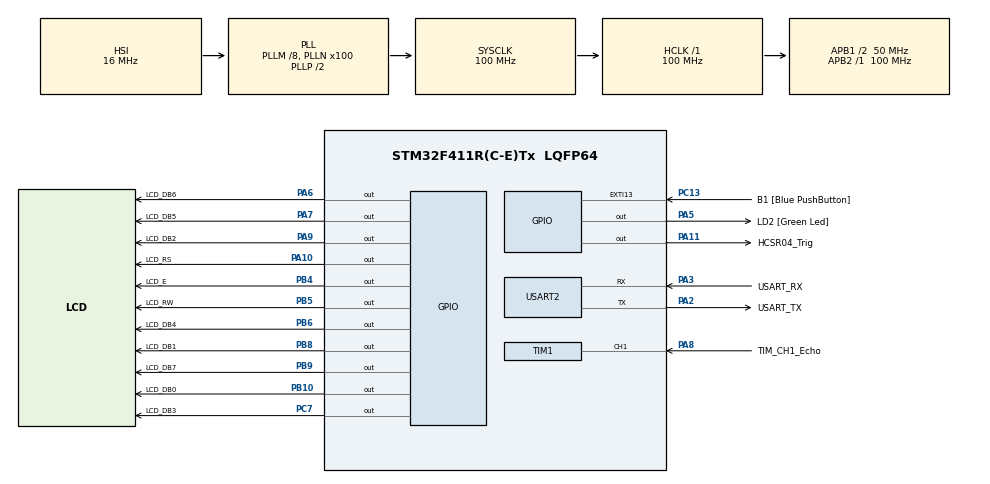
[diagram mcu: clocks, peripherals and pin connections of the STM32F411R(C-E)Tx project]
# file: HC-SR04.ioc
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Dma.Request0=USART2_TX
Dma.USART2_TX.0.Direction=DMA_MEMORY_TO_PERIPH
Dma.USART2_TX.0.FIFOMode=DMA_FIFOMODE_DISABLE
Dma.USART2_TX.0.Instance=DMA1_Stream6
Dma.USART2_TX.0.MemDataAlignment=DMA_MDATAALIGN_BYTE
Dma.USART2_TX.0.MemInc=DMA_MINC_ENABLE
Dma.USART2_TX.0.Mode=DMA_NORMAL
Dma.USART2_TX.0.PeriphDataAlignment=DMA_PDATAALIGN_BYTE
Dma.USART2_TX.0.PeriphInc=DMA_PINC_DISABLE
Dma.USART2_TX.0.Priority=DMA_PRIORITY_LOW
FREERTOS.BinarySemaphores01=CalcDistSem,Dynamic,NULL;LcdTransferSem,Dynamic,NULL
FREERTOS.Mutexes01=PrintfMutex,Dynamic,NULL;LcdMutex,Dynamic,NULL
FREERTOS.Queues01=LcdDistQueue,16,float,0,Dynamic,NULL,NULL
FREERTOS.Tasks01=HeartBeatTask,24,128,StartHeartBeatTask,Default,NULL,Dynamic,NULL,NULL;CalcDistTask,24,256,StartCalcDistTask,Default,NULL,Dynamic,NULL,NULL;LcdDistTask,24,256,StartLcdDistTask,Default,NULL,Dynamic,NULL,NULL;LcdDataTask,24,128,StartLcdDataTask,Default,NULL,Dynamic,NULL,NULL
FREERTOS.Timers01=LcdTransferTimer,LcdTransferCallback,osTimerOnce,Default,NULL,Dynamic,NULL
Mcu.Family=STM32F4
Mcu.Name=STM32F411R(C-E)Tx
Mcu.Package=LQFP64
NVIC.DMA1_Stream6_IRQn=true\:5\:0\:false\:false\:true\:true\:false\:true\:true
NVIC.EXTI15_10_IRQn=true\:5\:0\:false\:true\:true\:2\:true\:true\:true\:true
NVIC.PriorityGroup=NVIC_PRIORITYGROUP_4
NVIC.TIM1_CC_IRQn=true\:5\:0\:false\:true\:true\:1\:true\:true\:true\:true
NVIC.TIM1_TRG_COM_TIM11_IRQn=true\:15\:0\:false\:false\:true\:false\:false\:true\:true
NVIC.TIM1_UP_TIM10_IRQn=true\:5\:0\:false\:true\:true\:3\:true\:true\:true\:true
NVIC.TimeBase=TIM1_TRG_COM_TIM11_IRQn
NVIC.TimeBaseIP=TIM11
NVIC.USART2_IRQn=true\:5\:0\:false\:true\:true\:4\:true\:true\:true\:true
PA10.GPIO_Label=LCD_RS
PA10.Signal=GPIO_Output
PA11.GPIO_Label=HCSR04_Trig
PA11.Signal=GPIO_Output
PA13.GPIO_Label=TMS
PA13.Mode=Serial_Wire
PA13.Signal=SYS_JTMS-SWDIO
PA14.GPIO_Label=TCK
PA14.Mode=Serial_Wire
PA14.Signal=SYS_JTCK-SWCLK
PA2.GPIO_Label=USART_TX
PA2.Mode=Asynchronous
PA2.Signal=USART2_TX
PA3.GPIO_Label=USART_RX
PA3.Mode=Asynchronous
PA3.Signal=USART2_RX
PA5.GPIO_Label=LD2 [Green Led]
PA5.Signal=GPIO_Output
PA6.GPIO_Label=LCD_DB6
PA6.Signal=GPIO_Output
PA7.GPIO_Label=LCD_DB5
PA7.Signal=GPIO_Output
PA8.GPIO_Label=TIM_CH1_Echo
PA8.GPIO_PuPd=GPIO_PULLDOWN
PA8.Signal=S_TIM1_CH1
PA9.GPIO_Label=LCD_DB2
PA9.Signal=GPIO_Output
PB10.GPIO_Label=LCD_DB0
PB10.Signal=GPIO_Output
PB3.GPIO_Label=SWO
PB3.Signal=SYS_JTDO-SWO
PB4.GPIO_Label=LCD_E
PB4.Signal=GPIO_Output
PB5.GPIO_Label=LCD_RW
PB5.Signal=GPIO_Output
PB6.GPIO_Label=LCD_DB4
PB6.Signal=GPIO_Output
PB8.GPIO_Label=LCD_DB1
PB8.Signal=GPIO_Output
PB9.GPIO_Label=LCD_DB7
PB9.Signal=GPIO_Output
PC13-ANTI_TAMP.GPIO_Label=B1 [Blue PushButton]
PC13-ANTI_TAMP.GPIO_ModeDefaultEXTI=GPIO_MODE_IT_FALLING
PC13-ANTI_TAMP.Signal=GPXTI13
PC14-OSC32_IN.Mode=LSE-External-Oscillator
PC14-OSC32_IN.Signal=RCC_OSC32_IN
PC15-OSC32_OUT.Mode=LSE-External-Oscillator
PC15-OSC32_OUT.Signal=RCC_OSC32_OUT
PC7.GPIO_Label=LCD_DB3
PC7.Signal=GPIO_Output
PH0\ -\ OSC_IN.Mode=HSE-External-Clock-Source
PH0\ -\ OSC_IN.Signal=RCC_OSC_IN
PH1\ -\ OSC_OUT.Mode=HSE-External-Clock-Source
PH1\ -\ OSC_OUT.Signal=RCC_OSC_OUT
ProjectManager.HeapSize=0x200
ProjectManager.StackSize=0x400
ProjectManager.TargetToolchain=STM32CubeIDE
RCC.48MHZClocksFreq_Value=50000000
RCC.AHBFreq_Value=100000000
RCC.APB1CLKDivider=RCC_HCLK_DIV2
RCC.APB1Freq_Value=50000000
RCC.APB1TimFreq_Value=100000000
RCC.APB2Freq_Value=100000000
RCC.APB2TimFreq_Value=100000000
RCC.CortexFreq_Value=100000000
RCC.FLatency-AdvancedSettings=FLASH_LATENCY_3
RCC.HCLKFreq_Value=100000000
RCC.HSE_VALUE=8000000
RCC.HSI_VALUE=16000000
RCC.PLLM=8
RCC.PLLN=100
RCC.SYSCLKFreq_VALUE=100000000
RCC.SYSCLKSource=RCC_SYSCLKSOURCE_PLLCLK
RCC.VCOOutputFreq_Value=200000000
SH.S_TIM1_CH1.0=TIM1_CH1,Input_Capture1_from_TI1
TIM1.Channel-Input_Capture1_from_TI1=TIM_CHANNEL_1
TIM1.Channel-Input_Capture2_from_TI1_63=TIM_CHANNEL_2
TIM1.ICPolarity_CH1=TIM_INPUTCHANNELPOLARITY_RISING
TIM1.ICPolarity_CH2=TIM_INPUTCHANNELPOLARITY_FALLING
TIM1.Prescaler=99
TIM10.Period=9
TIM10.Prescaler=99
USART2.VirtualMode=VM_ASYNC
VP_FREERTOS_VS_CMSIS_V2.Mode=CMSIS_V2
VP_SYS_VS_tim11.Mode=TIM11
VP_TIM10_VS_ClockSourceINT.Mode=Enable_Timer
VP_TIM1_VS_ClockSourceINT.Mode=Internal
VP_TIM1_VS_indirect_ch1.Mode=Input_Capture2_from_TI1_63
board=NUCLEO-F411RE

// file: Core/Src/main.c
/* USER CODE BEGIN Header */
/**
  ******************************************************************************
  * @file           : main.c
  * @brief          : Main program body
  ******************************************************************************
  * @attention
  *
  * Copyright (c) 2023 STMicroelectronics.
  * All rights reserved.
  *
  * This software is licensed under terms that can be found in the LICENSE file
  * in the root directory of this software component.
  * If no LICENSE file comes with this software, it is provided AS-IS.
  *
  ******************************************************************************
  */
/* USER CODE END Header */
#include "main.h"
#include "cmsis_os.h"
#include "dma.h"
#include "tim.h"
#include "usart.h"
#include "gpio.h"

void SystemClock_Config(void);
void MX_FREERTOS_Init(void);
static void MX_NVIC_Init(void);
/* USER CODE BEGIN PFP */
//void SendUART(char* message, uint8_t size);
/* USER CODE END PFP */

int main(void)
{

  /* MCU Configuration--------------------------------------------------------*/

  /* Reset of all peripherals, Initializes the Flash interface and the Systick. */
  HAL_Init();

  /* Configure the system clock */
  SystemClock_Config();

  /* Initialize all configured peripherals */
  MX_GPIO_Init();
  MX_DMA_Init();
  MX_USART2_UART_Init();
  MX_TIM1_Init();
  MX_TIM10_Init();

  /* Initialize interrupts */
  MX_NVIC_Init();

  /* Init scheduler */
  osKernelInitialize();  /* Call init function for freertos objects (in freertos.c) */
  MX_FREERTOS_Init();

  /* Start scheduler */
  osKernelStart();

  /* We should never get here as control is now taken by the scheduler */
  /* Infinite loop */
  while (1)
  {

  }
}

void SystemClock_Config(void)
{
  RCC_OscInitTypeDef RCC_OscInitStruct = {0};
  RCC_ClkInitTypeDef RCC_ClkInitStruct = {0};

  /** Configure the main internal regulator output voltage
  */
  __HAL_RCC_PWR_CLK_ENABLE();
  __HAL_PWR_VOLTAGESCALING_CONFIG(PWR_REGULATOR_VOLTAGE_SCALE1);

  /** Initializes the RCC Oscillators according to the specified parameters
  * in the RCC_OscInitTypeDef structure.
  */
  RCC_OscInitStruct.OscillatorType = RCC_OSCILLATORTYPE_HSI;
  RCC_OscInitStruct.HSIState = RCC_HSI_ON;
  RCC_OscInitStruct.HSICalibrationValue = RCC_HSICALIBRATION_DEFAULT;
  RCC_OscInitStruct.PLL.PLLState = RCC_PLL_ON;
  RCC_OscInitStruct.PLL.PLLSource = RCC_PLLSOURCE_HSI;
  RCC_OscInitStruct.PLL.PLLM = 8;
  RCC_OscInitStruct.PLL.PLLN = 100;
  RCC_OscInitStruct.PLL.PLLP = RCC_PLLP_DIV2;
  RCC_OscInitStruct.PLL.PLLQ = 4;
  if (HAL_RCC_OscConfig(&RCC_OscInitStruct) != HAL_OK)
  {
    Error_Handler();
  }

  /** Initializes the CPU, AHB and APB buses clocks
  */
  RCC_ClkInitStruct.ClockType = RCC_CLOCKTYPE_HCLK|RCC_CLOCKTYPE_SYSCLK
                              |RCC_CLOCKTYPE_PCLK1|RCC_CLOCKTYPE_PCLK2;
  RCC_ClkInitStruct.SYSCLKSource = RCC_SYSCLKSOURCE_PLLCLK;
  RCC_ClkInitStruct.AHBCLKDivider = RCC_SYSCLK_DIV1;
  RCC_ClkInitStruct.APB1CLKDivider = RCC_HCLK_DIV2;
  RCC_ClkInitStruct.APB2CLKDivider = RCC_HCLK_DIV1;

  if (HAL_RCC_ClockConfig(&RCC_ClkInitStruct, FLASH_LATENCY_3) != HAL_OK)
  {
    Error_Handler();
  }
}

/**
  * @brief NVIC Configuration.
  * @retval None
  */
static void MX_NVIC_Init(void)
{
  /* TIM1_CC_IRQn interrupt configuration */
  HAL_NVIC_SetPriority(TIM1_CC_IRQn, 5, 0);
  HAL_NVIC_EnableIRQ(TIM1_CC_IRQn);
  /* EXTI15_10_IRQn interrupt configuration */
  HAL_NVIC_SetPriority(EXTI15_10_IRQn, 5, 0);
  HAL_NVIC_EnableIRQ(EXTI15_10_IRQn);
  /* TIM1_UP_TIM10_IRQn interrupt configuration */
  HAL_NVIC_SetPriority(TIM1_UP_TIM10_IRQn, 5, 0);
  HAL_NVIC_EnableIRQ(TIM1_UP_TIM10_IRQn);
  /* USART2_IRQn interrupt configuration */
  HAL_NVIC_SetPriority(USART2_IRQn, 5, 0);
  HAL_NVIC_EnableIRQ(USART2_IRQn);
}

void Error_Handler(void)
{
  __disable_irq();
  while (1)
  {
  }
}

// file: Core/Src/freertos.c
/* USER CODE BEGIN Header */
/**
  ******************************************************************************
  * File Name          : freertos.c
  * Description        : Code for freertos applications
  ******************************************************************************
  * @attention
  *
  * Copyright (c) 2023 STMicroelectronics.
  * All rights reserved.
  *
  * This software is licensed under terms that can be found in the LICENSE file
  * in the root directory of this software component.
  * If no LICENSE file comes with this software, it is provided AS-IS.
  *
  ******************************************************************************
  */
/* USER CODE END Header */

#include "FreeRTOS.h"
#include "task.h"
#include "main.h"
#include "cmsis_os.h"

/* USER CODE BEGIN Includes */
#include "printf.h"
#include "hcsr04.h"
#include "stdio.h"
#include "LCD_H44780U.h"
#include "dma.h"
#include "tim.h"
#include "usart.h"
#include "gpio.h"
#include "semphr.h"
#include "timers.h"
#include "queue.h"
/* USER CODE END Includes */

/* USER CODE BEGIN Variables */
HCSR04_t hc;

// LCD Init
LCD_H44780_t lcd;
// 8 bit
GPIO_TypeDef* Data_Ports[8] = {LCD_DB7_GPIO_Port, LCD_DB6_GPIO_Port, LCD_DB5_GPIO_Port,
								LCD_DB4_GPIO_Port, LCD_DB3_GPIO_Port, LCD_DB2_GPIO_Port,
								LCD_DB1_GPIO_Port, LCD_DB0_GPIO_Port};
uint16_t Data_Pins[8] = {LCD_DB7_Pin, LCD_DB6_Pin, LCD_DB5_Pin, LCD_DB4_Pin,
						LCD_DB3_Pin, LCD_DB2_Pin, LCD_DB1_Pin, LCD_DB0_Pin};

// 4 bit
//GPIO_TypeDef* Data_Ports[4] = {LCD_DB7_GPIO_Port, LCD_DB6_GPIO_Port, LCD_DB5_GPIO_Port,
//								LCD_DB4_GPIO_Port};
//uint16_t Data_Pins[4] = {LCD_DB7_Pin, LCD_DB6_Pin, LCD_DB5_Pin, LCD_DB4_Pin};

volatile uint16_t EdgeUpTime;
volatile uint16_t EdgeDownTime;
volatile uint8_t ReadyToCalcDist = 0;
volatile uint8_t StartMeasureDist = 0;

uint8_t dummydata[8] = {123,233,122,89,190,188,244,250};
/* USER CODE END Variables */
/* Definitions for HeartBeatTask */
osThreadId_t HeartBeatTaskHandle;
const osThreadAttr_t HeartBeatTask_attributes = {
  .name = "HeartBeatTask",
  .stack_size = 128 * 4,
  .priority = (osPriority_t) osPriorityNormal,
};
/* Definitions for CalcDistTask */
osThreadId_t CalcDistTaskHandle;
const osThreadAttr_t CalcDistTask_attributes = {
  .name = "CalcDistTask",
  .stack_size = 256 * 4,
  .priority = (osPriority_t) osPriorityNormal,
};
/* Definitions for LcdDistTask */
osThreadId_t LcdDistTaskHandle;
const osThreadAttr_t LcdDistTask_attributes = {
  .name = "LcdDistTask",
  .stack_size = 256 * 4,
  .priority = (osPriority_t) osPriorityNormal,
};
/* Definitions for LcdDataTask */
osThreadId_t LcdDataTaskHandle;
const osThreadAttr_t LcdDataTask_attributes = {
  .name = "LcdDataTask",
  .stack_size = 128 * 4,
  .priority = (osPriority_t) osPriorityNormal,
};
/* Definitions for LcdDistQueue */
osMessageQueueId_t LcdDistQueueHandle;
const osMessageQueueAttr_t LcdDistQueue_attributes = {
  .name = "LcdDistQueue"
};
/* Definitions for LcdTransferTimer */
osTimerId_t LcdTransferTimerHandle;
const osTimerAttr_t LcdTransferTimer_attributes = {
  .name = "LcdTransferTimer"
};
/* Definitions for PrintfMutex */
osMutexId_t PrintfMutexHandle;
const osMutexAttr_t PrintfMutex_attributes = {
  .name = "PrintfMutex"
};
/* Definitions for LcdMutex */
osMutexId_t LcdMutexHandle;
const osMutexAttr_t LcdMutex_attributes = {
  .name = "LcdMutex"
};
/* Definitions for CalcDistSem */
osSemaphoreId_t CalcDistSemHandle;
const osSemaphoreAttr_t CalcDistSem_attributes = {
  .name = "CalcDistSem"
};
/* Definitions for LcdTransferSem */
osSemaphoreId_t LcdTransferSemHandle;
const osSemaphoreAttr_t LcdTransferSem_attributes = {
  .name = "LcdTransferSem"
};

void StartHeartBeatTask(void *argument);
void StartCalcDistTask(void *argument);
void StartLcdDistTask(void *argument);
void StartLcdDataTask(void *argument);
void LcdTransferCallback(void *argument);

void MX_FREERTOS_Init(void); /* (MISRA C 2004 rule 8.1) */

void MX_FREERTOS_Init(void) {
  /* USER CODE BEGIN Init */
	// HCSR04 Init
	HCSR04_Init(&hc, &htim10, &htim1, B1_Pin, HCSR04_Trig_Pin, HCSR04_Trig_GPIO_Port);
    // Turn on TIM 1 in input capture mode Channel 1
    HAL_TIM_IC_Start_IT(&htim1, TIM_CHANNEL_1);
    // Turn on TIM1 in input capture mode Channel 2
    HAL_TIM_IC_Start_IT(&htim1, TIM_CHANNEL_2);
  /* USER CODE END Init */
  /* Create the mutex(es) */
  /* creation of PrintfMutex */
  PrintfMutexHandle = osMutexNew(&PrintfMutex_attributes);

  /* creation of LcdMutex */
  LcdMutexHandle = osMutexNew(&LcdMutex_attributes);

  /* Create the semaphores(s) */
  /* creation of CalcDistSem */
  CalcDistSemHandle = osSemaphoreNew(1, 1, &CalcDistSem_attributes);

  /* creation of LcdTransferSem */
  LcdTransferSemHandle = osSemaphoreNew(1, 1, &LcdTransferSem_attributes);

  /* Create the timer(s) */
  /* creation of LcdTransferTimer */
  LcdTransferTimerHandle = osTimerNew(LcdTransferCallback, osTimerOnce, NULL, &LcdTransferTimer_attributes);

  /* Create the queue(s) */
  /* creation of LcdDistQueue */
  LcdDistQueueHandle = osMessageQueueNew (16, sizeof(float), &LcdDistQueue_attributes);

  /* Create the thread(s) */
  /* creation of HeartBeatTask */
  HeartBeatTaskHandle = osThreadNew(StartHeartBeatTask, NULL, &HeartBeatTask_attributes);

  /* creation of CalcDistTask */
  CalcDistTaskHandle = osThreadNew(StartCalcDistTask, NULL, &CalcDistTask_attributes);

  /* creation of LcdDistTask */
  LcdDistTaskHandle = osThreadNew(StartLcdDistTask, NULL, &LcdDistTask_attributes);

  /* creation of LcdDataTask */
  LcdDataTaskHandle = osThreadNew(StartLcdDataTask, NULL, &LcdDataTask_attributes);

}

void StartHeartBeatTask(void *argument)
{
  /* USER CODE BEGIN StartHeartBeatTask */
  /* Infinite loop */
  for(;;)
  {
	HAL_GPIO_TogglePin(LD2_GPIO_Port, LD2_Pin);
	printf("LED\n\r");
    osDelay(500);
  }
  /* USER CODE END StartHeartBeatTask */
}

void StartCalcDistTask(void *argument)
{
  /* USER CODE BEGIN StartCalcDistTask */
  /* Infinite loop */
  for(;;)
  {
	if(xSemaphoreTake(CalcDistSemHandle, portMAX_DELAY) == pdTRUE)
	{
		if(HCSR04_Measurement(&hc) == 0)
		{
			printf("Wynik: %.1f\n\r", hc.distance);
			xQueueSendToBack(LcdDistQueueHandle, &hc.distance, portMAX_DELAY);
		}
	}
  }
  /* USER CODE END StartCalcDistTask */
}

void StartLcdDistTask(void *argument)
{
  /* USER CODE BEGIN StartLcdDistTask */
	 xSemaphoreTake(LcdMutexHandle, portMAX_DELAY);
	 LCD_create(&lcd ,Data_Ports, Data_Pins, LCD_RS_GPIO_Port, LCD_RS_Pin,
			 	 LCD_RW_GPIO_Port, LCD_RW_Pin, LCD_E_GPIO_Port, LCD_E_Pin);
	 LCD_Init(&lcd, LCD_8BIT_MODE, LCD_ONE_LINE, LCD_5x8, LCD_CURSOR_OFF, LCD_BLINKING_OFF);
	 LCD_Write_Data(&lcd, (uint8_t*)"Result: ", 8);
	 xSemaphoreGive(LcdMutexHandle);
	 float dist;
	 char msg[32];
	 uint8_t length;
  /* Infinite loop */
  for(;;)
  {
    xQueueReceive(LcdDistQueueHandle, &dist, portMAX_DELAY);
    xSemaphoreTake(LcdMutexHandle, portMAX_DELAY);
    LCD_Clear_XtoY_In_Line(&lcd, 1, 9, 10);
    LCD_GoTo_X(&lcd, 1, 9);
    length = sprintf(msg, "%.1f cm", dist);
    LCD_Write_Data(&lcd, (uint8_t*)msg, length);
    xSemaphoreGive(LcdMutexHandle);
    printf_("LCD\n\r");
  }
  /* USER CODE END StartLcdDistTask */
}

void StartLcdDataTask(void *argument)
{
  /* USER CODE BEGIN StartLcdDataTask */
	osDelay(300);
	xSemaphoreTake(LcdMutexHandle, portMAX_DELAY);
	LCD_New_Line(&lcd, 2);
	LCD_Write_Data(&lcd, (uint8_t*)"Data: ", 6);
	xSemaphoreGive(LcdMutexHandle);
	uint8_t i = 0;
	char data[8];
	uint8_t length;
  /* Infinite loop */
  for(;;)
  {
    osDelay(200);
    length = sprintf(data, "%d xx", dummydata[i]);
    xSemaphoreTake(LcdMutexHandle, portMAX_DELAY);
	LCD_Clear_XtoY_In_Line(&lcd, 2, 7, 7);
	LCD_GoTo_X(&lcd, 2, 7);
	LCD_Write_Data(&lcd, (uint8_t*)data, length);
	xSemaphoreGive(LcdMutexHandle);
	i++;
	if(i == 8)
		i = 0;
  }
  /* USER CODE END StartLcdDataTask */
}

/* LcdTransferCallback function */
void LcdTransferCallback(void *argument)
{
  /* USER CODE BEGIN LcdTransferCallback */
	xSemaphoreGiveFromISR(LcdTransferSemHandle, NULL);
  /* USER CODE END LcdTransferCallback */
}

/* USER CODE BEGIN Application */
void _putchar(char character)
{
	xSemaphoreTake(PrintfMutexHandle, portMAX_DELAY);
	HAL_UART_Transmit(&huart2, (uint8_t*)&character, 1, 1000);
	xSemaphoreGive(PrintfMutexHandle);
}

void HAL_TIM_IC_CaptureCallback(TIM_HandleTypeDef *htim)
{
	// Timer 1 for measure time
	if(htim == hc.htim_echo)
	{
		if(htim->Channel == HAL_TIM_ACTIVE_CHANNEL_1)
		{
			EdgeUpTime = __HAL_TIM_GET_COMPARE(htim, TIM_CHANNEL_1);
			// Turn on TIM 1 in input capture mode Channel 1
			HAL_TIM_IC_Start_IT(htim, TIM_CHANNEL_1);

		}
		else if(htim->Channel == HAL_TIM_ACTIVE_CHANNEL_2)
		{
			EdgeDownTime = __HAL_TIM_GET_COMPARE(htim, TIM_CHANNEL_2);
			// Turn on TIM1 in input capture mode Channel 2
			HAL_TIM_IC_Start_IT(htim, TIM_CHANNEL_2);
			ReadyToCalcDist = 1;
			xSemaphoreGiveFromISR(CalcDistSemHandle, NULL);
		}
	}

}

void HAL_TIM_PeriodElapsedCallback(TIM_HandleTypeDef *htim)
{
	// Timer 10 for trigger measurement
	if(htim == hc.htim_trig)
	{
		HAL_GPIO_WritePin(hc.GPIO_Port_TrigSignal, hc.GPIO_Pin_TrigSignal, GPIO_PIN_RESET);
		HAL_TIM_Base_Stop_IT(hc.htim_trig);
	}
	if (htim->Instance == TIM11)
	{
	    HAL_IncTick();
	}
}

void HAL_GPIO_EXTI_Callback(uint16_t GPIO_Pin)
{
	if(GPIO_Pin == hc.GPIO_Pin_Button)
	{
		HAL_TIM_Base_Start_IT(hc.htim_trig);
		HAL_GPIO_WritePin(hc.GPIO_Port_TrigSignal, hc.GPIO_Pin_TrigSignal, GPIO_PIN_SET);
	}
}
/* USER CODE END Application */
